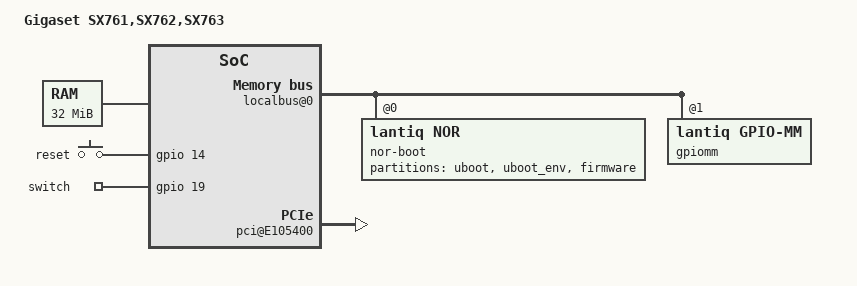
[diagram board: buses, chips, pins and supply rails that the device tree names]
/dts-v1/;

#include "danube.dtsi"

#include <dt-bindings/input/input.h>

/ {
	compatible = "siemens,gigaset-sx76x", "lantiq,xway", "lantiq,danube";
	model = "Gigaset SX761,SX762,SX763";

	chosen {
		bootargs = "console=ttyLTQ0,115200";
	};

	memory@0 {
		reg = <0x0 0x2000000>;
	};

	sram@1F000000 {
		vmmc@107000 {
			status = "okay";
			gpios = <&gpiomm 1 GPIO_ACTIVE_HIGH>;
		};
	};

	fpi@10000000 {
		localbus@0 {
			nor-boot@0 {
				compatible = "lantiq,nor";
				bank-width = <2>;
				reg = <0 0x0 0x2000000>;
				#address-cells = <1>;
				#size-cells = <1>;

				partitions {
					compatible = "fixed-partitions";
					#address-cells = <1>;
					#size-cells = <1>;

					partition@0 {
						label = "uboot";
						reg = <0x0 0x30000>;
					};

					partition@10000 {
						label = "uboot_env";
						reg = <0x30000 0x10000>;
					};

					partition@40000 {
						label = "firmware";
						reg = <0x40000 0x7c0000>;
					};
				};
			};

			gpiomm: gpiomm@4000000 {
				compatible = "lantiq,gpio-mm";
				reg = <1 0x0 0x10 >;
				#address-cells = <1>;
				#size-cells = <1>;
				#gpio-cells = <2>;
				gpio-controller;
				lantiq,shadow = <0x3>;
			};
		};

		gpio: pinmux@E100B10 {
			pinctrl-names = "default";
			pinctrl-0 = <&state_default>;

			state_default: pinmux {
				stp {
					lantiq,groups = "stp";
					lantiq,function = "stp";
				};
			};
		};

		gpios: stp@E100BB0 {
			status = "okay";
		};

		etop@E180000 {
			phy-mode = "rmii";
		};

		ifxhcd@E101000 {
			status = "okay";
			gpios = <&gpio 29 GPIO_ACTIVE_HIGH>;
		};

		pci@E105400 {
			status = "okay";
			gpio-reset = <&gpio 21 GPIO_ACTIVE_HIGH>;
		};
	};

	gpio-keys-polled {
		compatible = "gpio-keys-polled";
		#address-cells = <1>;
		#size-cells = <0>;
		poll-interval = <100>;

		reset {
			label = "reset";
			gpios = <&gpio 14 GPIO_ACTIVE_HIGH>;
			linux,code = <KEY_RESTART>;
		};
	};

	gpio_export {
		compatible = "gpio-export";
		#size-cells = <0>;

		switch {
			gpio-export,name = "switch";
			gpio-export,output = <1>;
			gpios = <&gpio 19 GPIO_ACTIVE_HIGH>;
		};
	};
};
